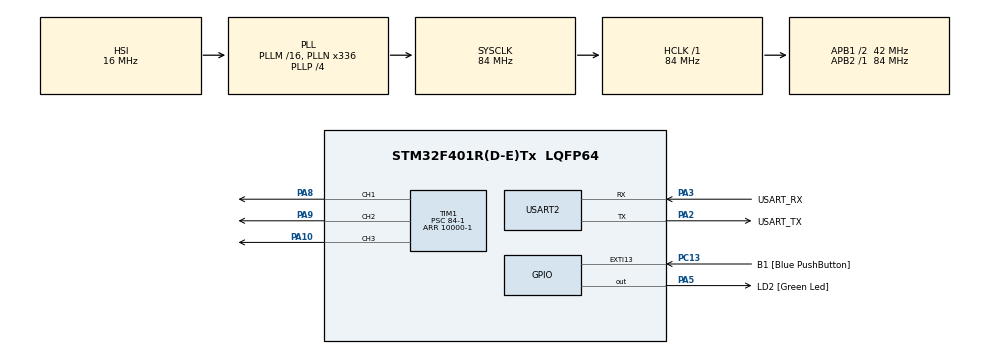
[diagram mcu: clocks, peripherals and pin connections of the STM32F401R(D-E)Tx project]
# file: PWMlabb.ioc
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Mcu.Family=STM32F4
Mcu.Name=STM32F401R(D-E)Tx
Mcu.Package=LQFP64
NVIC.PriorityGroup=NVIC_PRIORITYGROUP_0
NVIC.TIM1_UP_TIM10_IRQn=true\:0\:0\:false\:false\:true\:true\:true\:true
PA10.Signal=S_TIM1_CH3
PA13.GPIO_Label=TMS
PA13.Mode=Serial_Wire
PA13.Signal=SYS_JTMS-SWDIO
PA14.GPIO_Label=TCK
PA14.Mode=Serial_Wire
PA14.Signal=SYS_JTCK-SWCLK
PA2.GPIO_Label=USART_TX
PA2.GPIO_Mode=GPIO_MODE_AF_PP
PA2.GPIO_PuPd=GPIO_NOPULL
PA2.GPIO_Speed=GPIO_SPEED_FREQ_LOW
PA2.Mode=Asynchronous
PA2.Signal=USART2_TX
PA3.GPIO_Label=USART_RX
PA3.GPIO_Mode=GPIO_MODE_AF_PP
PA3.GPIO_PuPd=GPIO_NOPULL
PA3.GPIO_Speed=GPIO_SPEED_FREQ_LOW
PA3.Mode=Asynchronous
PA3.Signal=USART2_RX
PA5.GPIO_Label=LD2 [Green Led]
PA5.GPIO_Mode=GPIO_MODE_OUTPUT_PP
PA5.GPIO_PuPd=GPIO_NOPULL
PA5.GPIO_Speed=GPIO_SPEED_FREQ_LOW
PA5.Signal=GPIO_Output
PA8.Signal=S_TIM1_CH1
PA9.Signal=S_TIM1_CH2
PB3.GPIO_Label=SWO
PB3.Signal=SYS_JTDO-SWO
PC13-ANTI_TAMP.GPIO_Label=B1 [Blue PushButton]
PC13-ANTI_TAMP.GPIO_ModeDefaultEXTI=GPIO_MODE_IT_FALLING
PC13-ANTI_TAMP.GPIO_PuPd=GPIO_NOPULL
PC13-ANTI_TAMP.Signal=GPXTI13
PC14-OSC32_IN.Mode=LSE-External-Oscillator
PC14-OSC32_IN.Signal=RCC_OSC32_IN
PC15-OSC32_OUT.Mode=LSE-External-Oscillator
PC15-OSC32_OUT.Signal=RCC_OSC32_OUT
PH0\ -\ OSC_IN.Mode=HSE-External-Clock-Source
PH0\ -\ OSC_IN.Signal=RCC_OSC_IN
PH1\ -\ OSC_OUT.Mode=HSE-External-Clock-Source
PH1\ -\ OSC_OUT.Signal=RCC_OSC_OUT
ProjectManager.HeapSize=0x200
ProjectManager.StackSize=0x400
ProjectManager.TargetToolchain=STM32CubeIDE
RCC.48MHZClocksFreq_Value=48000000
RCC.AHBFreq_Value=84000000
RCC.APB1CLKDivider=RCC_HCLK_DIV2
RCC.APB1Freq_Value=42000000
RCC.APB1TimFreq_Value=84000000
RCC.APB2Freq_Value=84000000
RCC.APB2TimFreq_Value=84000000
RCC.CortexFreq_Value=84000000
RCC.HCLKFreq_Value=84000000
RCC.HSE_VALUE=8000000
RCC.HSI_VALUE=16000000
RCC.PLLN=336
RCC.PLLP=RCC_PLLP_DIV4
RCC.PLLQ=7
RCC.SYSCLKFreq_VALUE=84000000
RCC.SYSCLKSource=RCC_SYSCLKSOURCE_PLLCLK
RCC.VCOOutputFreq_Value=336000000
SH.S_TIM1_CH1.0=TIM1_CH1,PWM Generation1 CH1
SH.S_TIM1_CH2.0=TIM1_CH2,PWM Generation2 CH2
SH.S_TIM1_CH3.0=TIM1_CH3,PWM Generation3 CH3
TIM1.AutoReloadPreload=TIM_AUTORELOAD_PRELOAD_ENABLE
TIM1.Channel-PWM\ Generation1\ CH1=TIM_CHANNEL_1
TIM1.Channel-PWM\ Generation2\ CH2=TIM_CHANNEL_2
TIM1.Channel-PWM\ Generation3\ CH3=TIM_CHANNEL_3
TIM1.Period=10000-1
TIM1.Prescaler=84-1
TIM1.Pulse-PWM\ Generation1\ CH1=0
TIM1.Pulse-PWM\ Generation2\ CH2=0
TIM1.Pulse-PWM\ Generation3\ CH3=0
TIM1.TIM_MasterOutputTrigger=TIM_TRGO_ENABLE
USART2.VirtualMode=VM_ASYNC
VP_TIM1_VS_ClockSourceINT.Mode=Internal
board=NUCLEO-F401RE

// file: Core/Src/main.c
/* USER CODE BEGIN Header */
/**
  ******************************************************************************
  * @file           : main.c
  * @brief          : Main program body
  ******************************************************************************
  * @attention
  *
  * Copyright (c) 2022 STMicroelectronics.
  * All rights reserved.
  *
  * This software is licensed under terms that can be found in the LICENSE file
  * in the root directory of this software component.
  * If no LICENSE file comes with this software, it is provided AS-IS.
  *
  ******************************************************************************
  */
/* USER CODE END Header */
#include "main.h"

/* USER CODE BEGIN Includes */
#include <math.h>
/* USER CODE END Includes */

 TIM_HandleTypeDef htim1;

UART_HandleTypeDef huart2;

void SystemClock_Config(void);
static void MX_GPIO_Init(void);
static void MX_USART2_UART_Init(void);
static void MX_TIM1_Init(void);

/* USER CODE BEGIN 0 */
uint32_t isr_count = 0;
void HAL_TIM_PeriodElapsedCallback( TIM_HandleTypeDef *htim ){
	if(htim == &htim1){
		isr_count++;
	}isr_count++;
}
/* USER CODE END 0 */

int main(void)
{

  /* MCU Configuration--------------------------------------------------------*/

  /* Reset of all peripherals, Initializes the Flash interface and the Systick. */
  HAL_Init();

  /* Configure the system clock */
  SystemClock_Config();

  /* Initialize all configured peripherals */
  MX_GPIO_Init();
  MX_USART2_UART_Init();
  MX_TIM1_Init();
  /* USER CODE BEGIN 2 */

  //HAL_TIM_PWM_Start_IT(&htim1, TIM_CHANNEL_1 | TIM_CHANNEL_2 | TIM_CHANNEL_3);
  HAL_TIM_PWM_Start(&htim1, TIM_CHANNEL_1);
  HAL_TIM_PWM_Start(&htim1, TIM_CHANNEL_2);
  HAL_TIM_PWM_Start(&htim1, TIM_CHANNEL_3);
  HAL_TIM_Base_Start_IT(&htim1);
  /* USER CODE END 2 */

  /* Infinite loop */
  /* USER CODE BEGIN WHILE */
  uint32_t old_isr_count = isr_count;
  float fhz = 5.0f;
  float rhz = fhz;
  float bhz = fhz * 6.6f;
  float ghz = fhz * 3.3f;

  float rf, gf, bf;
  float t = 0.0f;
  while (1)
  {
	  //isr_count++;static float t = 0.0f;
	  if(old_isr_count != isr_count){
		  const float offset = M_TWOPI / 3.0f;
		  const float half_arr = 5000.0f; /* set to (ARR+1) / 2.0f !!! */
		  rf = sinf((M_TWOPI * t * rhz) + (0 * offset));
		  gf = sinf((M_TWOPI * t * ghz) + (1 * offset));
		  bf = sinf((M_TWOPI * t * bhz) + (2 * offset));

		  rf = (rf + 1.0) * half_arr;
		  gf = (gf*0.8f + 1.0) * half_arr;
		  bf = (bf*0.8f + 1.0) * half_arr;

		  t += 0.001; // should be (1 / f_TIM)

		  /* Code for setting PWM duty cycles goes here */
		  __HAL_TIM_SET_COMPARE(&htim1, TIM_CHANNEL_1, bf);
		  __HAL_TIM_SET_COMPARE(&htim1, TIM_CHANNEL_2, rf);
		  __HAL_TIM_SET_COMPARE(&htim1, TIM_CHANNEL_3, gf);

		  old_isr_count = isr_count;
	  }

    /* USER CODE END WHILE */

  }
}

void SystemClock_Config(void)
{
  RCC_OscInitTypeDef RCC_OscInitStruct = {0};
  RCC_ClkInitTypeDef RCC_ClkInitStruct = {0};

  /** Configure the main internal regulator output voltage
  */
  __HAL_RCC_PWR_CLK_ENABLE();
  __HAL_PWR_VOLTAGESCALING_CONFIG(PWR_REGULATOR_VOLTAGE_SCALE2);

  /** Initializes the RCC Oscillators according to the specified parameters
  * in the RCC_OscInitTypeDef structure.
  */
  RCC_OscInitStruct.OscillatorType = RCC_OSCILLATORTYPE_HSI;
  RCC_OscInitStruct.HSIState = RCC_HSI_ON;
  RCC_OscInitStruct.HSICalibrationValue = RCC_HSICALIBRATION_DEFAULT;
  RCC_OscInitStruct.PLL.PLLState = RCC_PLL_ON;
  RCC_OscInitStruct.PLL.PLLSource = RCC_PLLSOURCE_HSI;
  RCC_OscInitStruct.PLL.PLLM = 16;
  RCC_OscInitStruct.PLL.PLLN = 336;
  RCC_OscInitStruct.PLL.PLLP = RCC_PLLP_DIV4;
  RCC_OscInitStruct.PLL.PLLQ = 7;
  if (HAL_RCC_OscConfig(&RCC_OscInitStruct) != HAL_OK)
  {
    Error_Handler();
  }

  /** Initializes the CPU, AHB and APB buses clocks
  */
  RCC_ClkInitStruct.ClockType = RCC_CLOCKTYPE_HCLK|RCC_CLOCKTYPE_SYSCLK
                              |RCC_CLOCKTYPE_PCLK1|RCC_CLOCKTYPE_PCLK2;
  RCC_ClkInitStruct.SYSCLKSource = RCC_SYSCLKSOURCE_PLLCLK;
  RCC_ClkInitStruct.AHBCLKDivider = RCC_SYSCLK_DIV1;
  RCC_ClkInitStruct.APB1CLKDivider = RCC_HCLK_DIV2;
  RCC_ClkInitStruct.APB2CLKDivider = RCC_HCLK_DIV1;

  if (HAL_RCC_ClockConfig(&RCC_ClkInitStruct, FLASH_LATENCY_2) != HAL_OK)
  {
    Error_Handler();
  }
}

static void MX_TIM1_Init(void)
{

  TIM_ClockConfigTypeDef sClockSourceConfig = {0};
  TIM_MasterConfigTypeDef sMasterConfig = {0};
  TIM_OC_InitTypeDef sConfigOC = {0};
  TIM_BreakDeadTimeConfigTypeDef sBreakDeadTimeConfig = {0};

  htim1.Instance = TIM1;
  htim1.Init.Prescaler = 84-1;
  htim1.Init.CounterMode = TIM_COUNTERMODE_UP;
  htim1.Init.Period = 10000-1;
  htim1.Init.ClockDivision = TIM_CLOCKDIVISION_DIV1;
  htim1.Init.RepetitionCounter = 0;
  htim1.Init.AutoReloadPreload = TIM_AUTORELOAD_PRELOAD_ENABLE;
  if (HAL_TIM_Base_Init(&htim1) != HAL_OK)
  {
    Error_Handler();
  }
  sClockSourceConfig.ClockSource = TIM_CLOCKSOURCE_INTERNAL;
  if (HAL_TIM_ConfigClockSource(&htim1, &sClockSourceConfig) != HAL_OK)
  {
    Error_Handler();
  }
  if (HAL_TIM_PWM_Init(&htim1) != HAL_OK)
  {
    Error_Handler();
  }
  sMasterConfig.MasterOutputTrigger = TIM_TRGO_ENABLE;
  sMasterConfig.MasterSlaveMode = TIM_MASTERSLAVEMODE_DISABLE;
  if (HAL_TIMEx_MasterConfigSynchronization(&htim1, &sMasterConfig) != HAL_OK)
  {
    Error_Handler();
  }
  sConfigOC.OCMode = TIM_OCMODE_PWM1;
  sConfigOC.Pulse = 0;
  sConfigOC.OCPolarity = TIM_OCPOLARITY_HIGH;
  sConfigOC.OCNPolarity = TIM_OCNPOLARITY_HIGH;
  sConfigOC.OCFastMode = TIM_OCFAST_DISABLE;
  sConfigOC.OCIdleState = TIM_OCIDLESTATE_RESET;
  sConfigOC.OCNIdleState = TIM_OCNIDLESTATE_RESET;
  if (HAL_TIM_PWM_ConfigChannel(&htim1, &sConfigOC, TIM_CHANNEL_1) != HAL_OK)
  {
    Error_Handler();
  }
  if (HAL_TIM_PWM_ConfigChannel(&htim1, &sConfigOC, TIM_CHANNEL_2) != HAL_OK)
  {
    Error_Handler();
  }
  if (HAL_TIM_PWM_ConfigChannel(&htim1, &sConfigOC, TIM_CHANNEL_3) != HAL_OK)
  {
    Error_Handler();
  }
  sBreakDeadTimeConfig.OffStateRunMode = TIM_OSSR_DISABLE;
  sBreakDeadTimeConfig.OffStateIDLEMode = TIM_OSSI_DISABLE;
  sBreakDeadTimeConfig.LockLevel = TIM_LOCKLEVEL_OFF;
  sBreakDeadTimeConfig.DeadTime = 0;
  sBreakDeadTimeConfig.BreakState = TIM_BREAK_DISABLE;
  sBreakDeadTimeConfig.BreakPolarity = TIM_BREAKPOLARITY_HIGH;
  sBreakDeadTimeConfig.AutomaticOutput = TIM_AUTOMATICOUTPUT_DISABLE;
  if (HAL_TIMEx_ConfigBreakDeadTime(&htim1, &sBreakDeadTimeConfig) != HAL_OK)
  {
    Error_Handler();
  }
  HAL_TIM_MspPostInit(&htim1);

}

static void MX_USART2_UART_Init(void)
{

  huart2.Instance = USART2;
  huart2.Init.BaudRate = 115200;
  huart2.Init.WordLength = UART_WORDLENGTH_8B;
  huart2.Init.StopBits = UART_STOPBITS_1;
  huart2.Init.Parity = UART_PARITY_NONE;
  huart2.Init.Mode = UART_MODE_TX_RX;
  huart2.Init.HwFlowCtl = UART_HWCONTROL_NONE;
  huart2.Init.OverSampling = UART_OVERSAMPLING_16;
  if (HAL_UART_Init(&huart2) != HAL_OK)
  {
    Error_Handler();
  }

}

static void MX_GPIO_Init(void)
{
  GPIO_InitTypeDef GPIO_InitStruct = {0};

  /* GPIO Ports Clock Enable */
  __HAL_RCC_GPIOC_CLK_ENABLE();
  __HAL_RCC_GPIOH_CLK_ENABLE();
  __HAL_RCC_GPIOA_CLK_ENABLE();
  __HAL_RCC_GPIOB_CLK_ENABLE();

  /*Configure GPIO pin Output Level */
  HAL_GPIO_WritePin(LD2_GPIO_Port, LD2_Pin, GPIO_PIN_RESET);

  /*Configure GPIO pin : B1_Pin */
  GPIO_InitStruct.Pin = B1_Pin;
  GPIO_InitStruct.Mode = GPIO_MODE_IT_FALLING;
  GPIO_InitStruct.Pull = GPIO_NOPULL;
  HAL_GPIO_Init(B1_GPIO_Port, &GPIO_InitStruct);

  /*Configure GPIO pin : LD2_Pin */
  GPIO_InitStruct.Pin = LD2_Pin;
  GPIO_InitStruct.Mode = GPIO_MODE_OUTPUT_PP;
  GPIO_InitStruct.Pull = GPIO_NOPULL;
  GPIO_InitStruct.Speed = GPIO_SPEED_FREQ_LOW;
  HAL_GPIO_Init(LD2_GPIO_Port, &GPIO_InitStruct);

}

void Error_Handler(void)
{
  __disable_irq();
  while (1)
  {
  }
}
